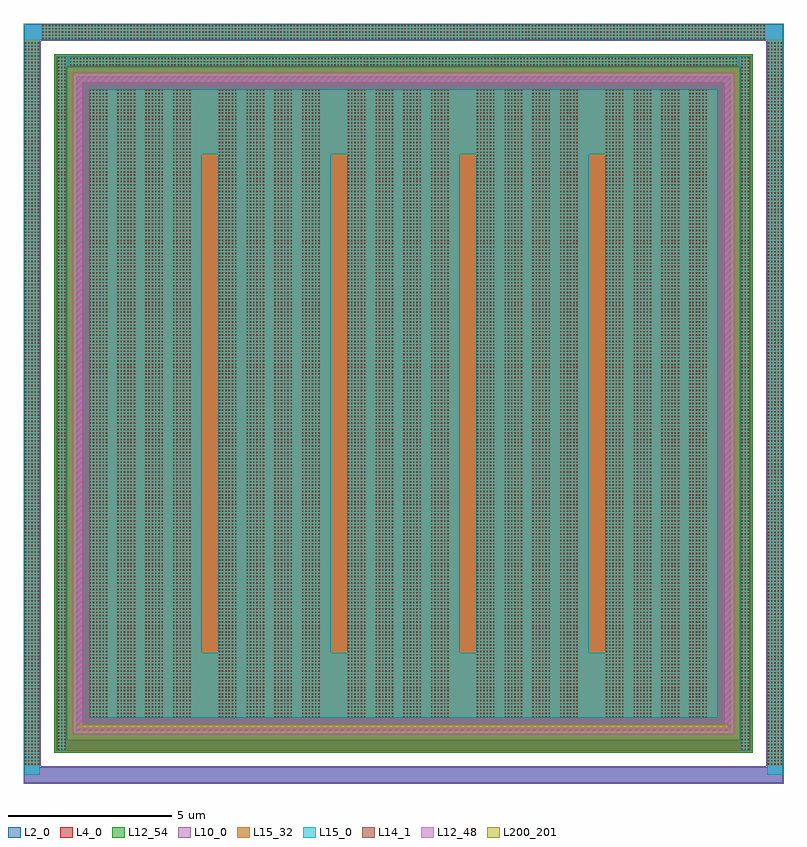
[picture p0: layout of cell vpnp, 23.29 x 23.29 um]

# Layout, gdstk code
import gdstk
lib = gdstk.Library(unit=1e-6, precision=1e-09)
def R(c, l, rs):  # rectangles x0, y0, x1, y1
    for r in rs: c.add(gdstk.rectangle(r[:2], r[2:], *l))
def A(c, l, x, y, w, h, nx, ny, dx, dy):  # array of equal rectangles
    R(c, l, [(x+i*dx, y+j*dy, x+i*dx+w, y+j*dy+h) for i in range(nx) for j in range(ny)])
L2_0 = (2, 0)
L4_0 = (4, 0)
L10_0 = (10, 0)
L12_48 = (12, 48)
L12_54 = (12, 54)
L14_1 = (14, 1)
L15_0 = (15, 0)
L15_32 = (15, 32)
L200_201 = (200, 201)

vpnp = lib.new_cell('vpnp')
R(vpnp, L2_0, [(-18.129,-10.159,5.123,-9.679), (-18.129,-9.679,-17.649,12.613), (4.643,-9.679,5.123,12.613), (-17.149,-9.179,4.143,-8.839), (-17.149,-8.839,-16.809,11.773), (3.803,-8.839,4.143,11.773), (-16.453,-8.483,3.447,11.417), (-17.149,11.773,4.143,12.113), (-18.129,12.613,5.123,13.093)])
R(vpnp, L4_0, [(-17.205,-9.235,4.199,12.169)])
R(vpnp, L10_0, [(-18.15,-10.18,5.144,-9.658), (-18.15,-9.658,-17.628,12.592), (4.622,-9.658,5.144,12.592), (-16.523,-8.553,3.517,11.487), (-18.15,12.592,5.144,13.114)])
R(vpnp, L12_48, [(-16.634,-8.664,3.628,-8.358), (-16.634,-8.358,-16.328,11.292), (3.322,-8.358,3.628,11.292), (-16.634,11.292,3.628,11.598)])
R(vpnp, L12_54, [(-17.205,-9.235,4.199,12.169)])
A(vpnp, L14_1, -18.109, -9.603, 0.04, 0.04, 5, 222, 0.1, 0.1)
A(vpnp, L14_1, 4.663, -9.603, 0.04, 0.04, 5, 222, 0.1, 0.1)
A(vpnp, L14_1, -17.099, -9.153, 0.04, 0.04, 3, 213, 0.1, 0.1)
A(vpnp, L14_1, 3.853, -9.153, 0.04, 0.04, 3, 213, 0.1, 0.1)
A(vpnp, L14_1, -16.123, -8.153, 0.04, 0.04, 6, 193, 0.1, 0.1)
A(vpnp, L14_1, -15.271, -8.153, 0.04, 0.04, 6, 193, 0.1, 0.1)
A(vpnp, L14_1, -14.419, -8.153, 0.04, 0.04, 6, 193, 0.1, 0.1)
A(vpnp, L14_1, -13.567, -8.153, 0.04, 0.04, 6, 193, 0.1, 0.1)
A(vpnp, L14_1, -12.167, -8.153, 0.04, 0.04, 6, 193, 0.1, 0.1)
A(vpnp, L14_1, -11.315, -8.153, 0.04, 0.04, 6, 193, 0.1, 0.1)
A(vpnp, L14_1, -10.463, -8.153, 0.04, 0.04, 6, 193, 0.1, 0.1)
A(vpnp, L14_1, -9.611, -8.153, 0.04, 0.04, 6, 193, 0.1, 0.1)
A(vpnp, L14_1, -8.212, -8.153, 0.04, 0.04, 6, 193, 0.1, 0.1)
A(vpnp, L14_1, -7.36, -8.153, 0.04, 0.04, 6, 193, 0.1, 0.1)
A(vpnp, L14_1, -6.508, -8.153, 0.04, 0.04, 6, 193, 0.1, 0.1)
A(vpnp, L14_1, -5.656, -8.153, 0.04, 0.04, 6, 193, 0.1, 0.1)
A(vpnp, L14_1, -4.257, -8.153, 0.04, 0.04, 6, 193, 0.1, 0.1)
A(vpnp, L14_1, -3.405, -8.153, 0.04, 0.04, 6, 193, 0.1, 0.1)
A(vpnp, L14_1, -2.553, -8.153, 0.04, 0.04, 6, 193, 0.1, 0.1)
A(vpnp, L14_1, -1.701, -8.153, 0.04, 0.04, 6, 193, 0.1, 0.1)
A(vpnp, L14_1, -0.302, -8.153, 0.04, 0.04, 6, 193, 0.1, 0.1)
A(vpnp, L14_1, 0.55, -8.153, 0.04, 0.04, 6, 193, 0.1, 0.1)
A(vpnp, L14_1, 1.402, -8.153, 0.04, 0.04, 6, 193, 0.1, 0.1)
A(vpnp, L14_1, 2.254, -8.153, 0.04, 0.04, 6, 193, 0.1, 0.1)
A(vpnp, L14_1, -16.723, 11.823, 0.04, 0.04, 205, 3, 0.1, 0.1)
A(vpnp, L14_1, -17.573, 12.633, 0.04, 0.04, 222, 5, 0.1, 0.1)
A(vpnp, L15_0, -12.185, -6.171, 3.455, 15.276, 4, 1, 3.955, 0)
R(vpnp, L15_0, [(-18.127,-9.919,-17.651,13.091), (4.645,-9.919,5.121,13.091), (-17.117,-9.171,-16.841,12.105), (3.835,-9.171,4.111,12.105), (-16.141,-8.171,3.135,-6.171), (-16.141,-6.171,-12.686,9.105), (-16.141,9.105,3.135,11.105), (-16.841,11.805,3.835,12.105), (-17.651,12.615,4.645,13.091)])
R(vpnp, L15_32, [(-18.127,-9.621,-17.651,12.615), (4.645,-9.621,5.121,12.615), (-17.117,-9.171,-16.841,12.105), (3.835,-9.171,4.111,12.105), (-16.141,-8.171,3.135,11.105), (-16.741,11.805,3.735,12.081), (-17.591,12.615,4.585,13.091)])
R(vpnp, L200_201, [(-16.453,-8.483,3.447,-8.383)])

lib.write_gds('vpnp.gds')
